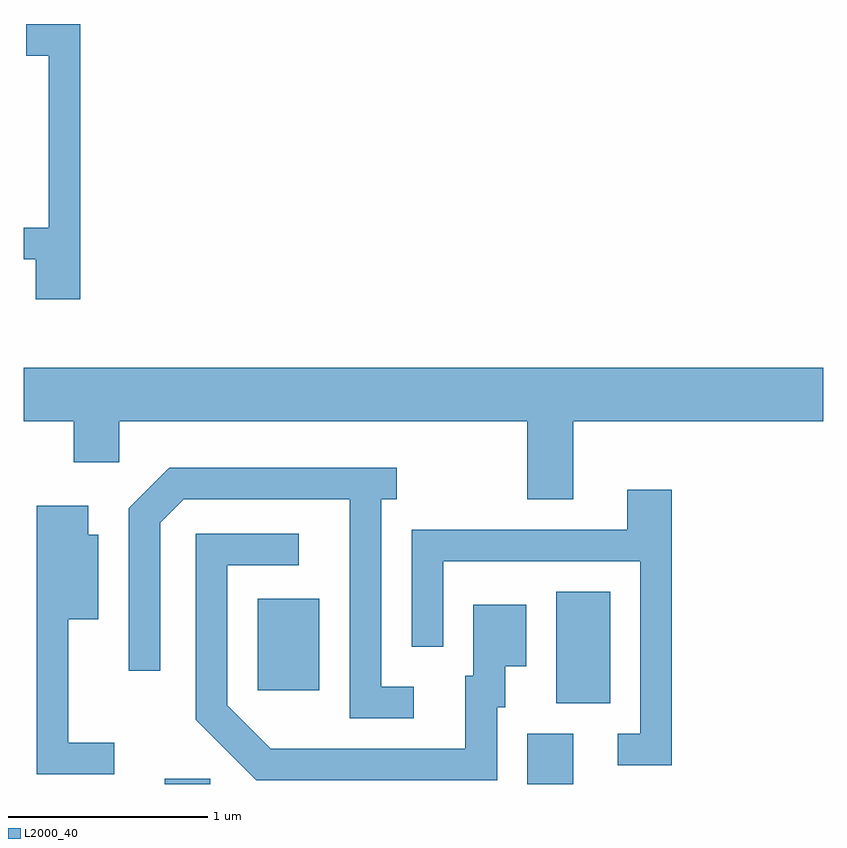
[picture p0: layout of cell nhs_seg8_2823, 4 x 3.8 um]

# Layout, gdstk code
import gdstk
lib = gdstk.Library(unit=1e-6, precision=1e-09)
def R(c, l, rs):  # rectangles x0, y0, x1, y1
    for r in rs: c.add(gdstk.rectangle(r[:2], r[2:], *l))
def P(c, l, *ps):  # polygons
    for p in ps: c.add(gdstk.Polygon(p, *l))
L2000_40 = (2000, 40)

nhs_seg8_2823 = lib.new_cell('nhs_seg8_2823')
R(nhs_seg8_2823, L2000_40, [(270.316,1872.342,270.544,1872.369), (272.131,1872.342,272.359,1872.594), (272.276,1872.746,272.544,1873.304), (270.781,1872.811,271.089,1873.269)])
P(nhs_seg8_2823, L2000_40, [(269.894,1876.144),(269.623,1876.144),(269.623,1875.986),(269.736,1875.986),(269.736,1875.124),(269.611,1875.124),(269.611,1874.966),(269.671,1874.966),(269.671,1874.766),(269.894,1874.766)],
  [(272.359,1874.156),(273.611,1874.156),(273.611,1874.424),(269.611,1874.424),(269.611,1874.156),(269.861,1874.156),(269.861,1873.951),(270.089,1873.951),(270.089,1874.156),(272.131,1874.156),(272.131,1873.766),(272.359,1873.766)],
  [(271.563,1872.829),(271.399,1872.829),(271.399,1873.766),(271.478,1873.766),(271.478,1873.924),(270.339,1873.924),(270.136,1873.722),(270.136,1872.908),(270.294,1872.908),(270.294,1873.649),(270.412,1873.766),(271.241,1873.766),(271.241,1872.671),(271.563,1872.671)],
  [(272.854,1873.814),(272.631,1873.814),(272.631,1873.614),(271.551,1873.614),(271.551,1873.028),(271.709,1873.028),(271.709,1873.456),(272.696,1873.456),(272.696,1872.594),(272.583,1872.594),(272.583,1872.436),(272.854,1872.436)],
  [(270.063,1872.549),(269.834,1872.549),(269.834,1873.166),(269.984,1873.166),(269.984,1873.589),(269.934,1873.589),(269.934,1873.734),(269.676,1873.734),(269.676,1872.391),(270.063,1872.391)],
  [(271.979,1872.726),(272.019,1872.726),(272.019,1872.931),(272.124,1872.931),(272.124,1873.239),(271.861,1873.239),(271.861,1872.884),(271.821,1872.884),(271.821,1872.519),(270.847,1872.519),(270.629,1872.737),(270.629,1873.436),(270.988,1873.436),(270.988,1873.594),(270.471,1873.594),(270.471,1872.664),(270.774,1872.361),(271.979,1872.361)])

lib.write_gds('nhs_seg8_2823.gds')
